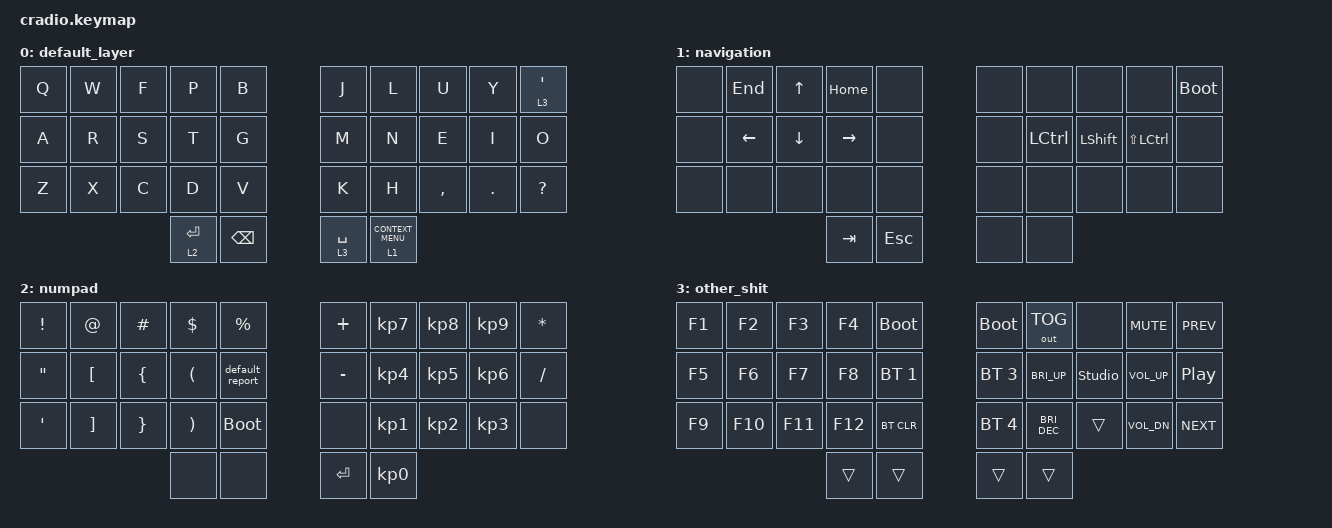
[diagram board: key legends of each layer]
// Copyright (c) 2022 The ZMK Contributors
// SPDX-License-Identifier: MIT

#define ZMK_MOUSE_DEFAULT_MOVE_VAL 2500  // 600
#define ZMK_MOUSE_DEFAULT_SCRL_VAL 20    // 10

#include <dt-bindings/zmk/mouse.h>
#include <behaviors.dtsi>
#include <dt-bindings/zmk/bt.h>
#include <dt-bindings/zmk/keys.h>
#include <dt-bindings/zmk/outputs.h>

#define MAC 0
#define WIN 1
#define RIG 2
#define LEF 3
#define TRI 4
#define MOUSE 5

/ {
    chosen { zmk,charmap = &charmap_us; };

    behaviors {
        ht: hold_tap {
            label = "hold_tap";
            compatible = "zmk,behavior-hold-tap";
            #binding-cells = <2>;
            flavor = "tap-preferred";
            tapping-term-ms = <220>;
            quick-tap-ms = <150>;
            global-quick-tap;
            bindings = <&kp>, <&kp>;
        };

        mmv {
            acceleration-exponent = <1>;      // 1
            time-to-max-speed-ms = <300>;    // 40
            delay-ms = <0>;                   // 0
        };

        msc {
            acceleration-exponent = <0>;      // 0
            time-to-max-speed-ms = <40>;      // 500
            delay-ms = <0>;                   // 10
        };
    };

    conditional_layers {
        compatible = "zmk,conditional-layers";

        tri_layer {
            if-layers = <1 2>;
            then-layer = <3>;
        };
    };

    combos {
        compatible = "zmk,combos";

        Shift-space {
            bindings = <&kp LS(SPACE)>;
            key-positions = <>;
        };
    };

    keymap {
        compatible = "zmk,keymap";

        default_layer {
            bindings = <
&kp Q  &kp W  &kp F  &kp P        &kp B            &kp J        &kp L                 &kp U      &kp Y    &lt 3 SQT
&kp A  &kp R  &kp S  &kp T        &kp G            &kp M        &kp N                 &kp E      &kp I    &kp O
&kp Z  &kp X  &kp C  &kp D        &kp V            &kp K        &kp H                 &kp COMMA  &kp DOT  &kp QUESTION
                     &lt 2 ENTER  &kp BACKSPACE    &lt 3 SPACE  &lt 1 K_CONTEXT_MENU
            >;
        };

        navigation {
            bindings = <
&none  &kp END   &kp UP_ARROW  &kp HOME   &none      &none  &none             &none           &none                 &bootloader
&none  &kp LEFT  &kp DOWN      &kp RIGHT  &none      &none  &kp LEFT_CONTROL  &kp LEFT_SHIFT  &kp LS(LEFT_CONTROL)  &none
&none  &none     &none         &none      &none      &none  &none             &none           &none                 &none
                               &kp TAB    &kp ESC    &none  &none
            >;
        };

        numpad {
            bindings = <
&kp EXCL  &kp AT    &kp HASH  &kp DLLR  &kp PRCNT          &kp PLUS   &kp KP_NUMBER_7  &kp KP_NUMBER_8  &kp KP_NUMBER_9  &kp ASTERISK
&kp DQT   &kp LBKT  &kp LBRC  &kp LPAR  &default_report    &kp MINUS  &kp KP_NUMBER_4  &kp KP_NUMBER_5  &kp KP_NUMBER_6  &kp SLASH
&kp SQT   &kp RBKT  &kp RBRC  &kp RPAR  &bootloader        &none      &kp KP_NUMBER_1  &kp KP_NUMBER_2  &kp KP_NUMBER_3  &none
                              &none     &none              &kp ENTER  &kp KP_NUMBER_0
            >;
        };

        other_shit {
            bindings = <
&kp F1  &kp F2   &kp F3   &kp F4   &bootloader     &bootloader   &out OUT_TOG   &none           &kp C_MUTE    &kp C_PREV
&kp F5  &kp F6   &kp F7   &kp F8   &bt BT_SEL 1    &bt BT_SEL 3  &kp C_BRI_UP   &studio_unlock  &kp C_VOL_UP  &kp C_PP
&kp F9  &kp F10  &kp F11  &kp F12  &bt BT_CLR      &bt BT_SEL 4  &kp C_BRI_DEC  &trans          &kp C_VOL_DN  &kp C_NEXT
                          &trans   &trans          &trans        &trans
            >;
        };
    };
};
